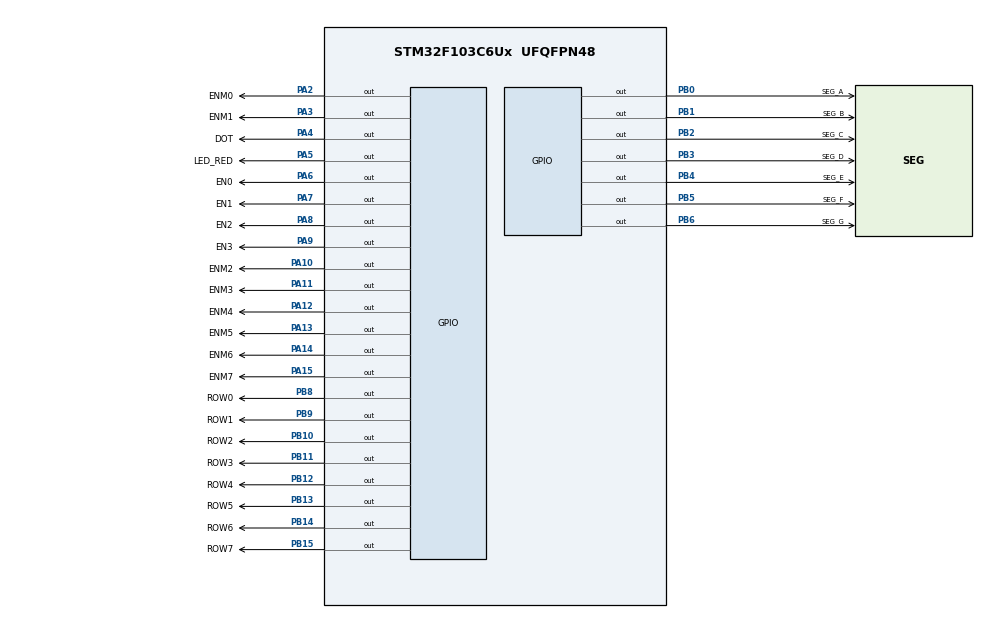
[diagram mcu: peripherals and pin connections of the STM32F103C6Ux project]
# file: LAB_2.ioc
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Mcu.Family=STM32F1
Mcu.Name=STM32F103C6Ux
Mcu.Package=UFQFPN48
NVIC.PriorityGroup=NVIC_PRIORITYGROUP_4
NVIC.TIM2_IRQn=true\:0\:0\:false\:false\:true\:true\:true\:true
PA10.GPIO_Label=ENM2
PA10.Signal=GPIO_Output
PA11.GPIO_Label=ENM3
PA11.Signal=GPIO_Output
PA12.GPIO_Label=ENM4
PA12.Signal=GPIO_Output
PA13.GPIO_Label=ENM5
PA13.Signal=GPIO_Output
PA14.GPIO_Label=ENM6
PA14.Signal=GPIO_Output
PA15.GPIO_Label=ENM7
PA15.Signal=GPIO_Output
PA2.GPIO_Label=ENM0
PA2.Signal=GPIO_Output
PA3.GPIO_Label=ENM1
PA3.Signal=GPIO_Output
PA4.GPIO_Label=DOT
PA4.PinState=GPIO_PIN_RESET
PA4.Signal=GPIO_Output
PA5.GPIO_Label=LED_RED
PA5.Signal=GPIO_Output
PA6.GPIO_Label=EN0
PA6.Signal=GPIO_Output
PA7.GPIO_Label=EN1
PA7.Signal=GPIO_Output
PA8.GPIO_Label=EN2
PA8.Signal=GPIO_Output
PA9.GPIO_Label=EN3
PA9.Signal=GPIO_Output
PB0.GPIO_Label=SEG_A
PB0.Signal=GPIO_Output
PB1.GPIO_Label=SEG_B
PB1.Signal=GPIO_Output
PB10.GPIO_Label=ROW2
PB10.Signal=GPIO_Output
PB11.GPIO_Label=ROW3
PB11.Signal=GPIO_Output
PB12.GPIO_Label=ROW4
PB12.Signal=GPIO_Output
PB13.GPIO_Label=ROW5
PB13.Signal=GPIO_Output
PB14.GPIO_Label=ROW6
PB14.Signal=GPIO_Output
PB15.GPIO_Label=ROW7
PB15.Signal=GPIO_Output
PB2.GPIO_Label=SEG_C
PB2.Signal=GPIO_Output
PB3.GPIO_Label=SEG_D
PB3.Signal=GPIO_Output
PB4.GPIO_Label=SEG_E
PB4.Signal=GPIO_Output
PB5.GPIO_Label=SEG_F
PB5.Signal=GPIO_Output
PB6.GPIO_Label=SEG_G
PB6.Signal=GPIO_Output
PB8.GPIO_Label=ROW0
PB8.Signal=GPIO_Output
PB9.GPIO_Label=ROW1
PB9.Signal=GPIO_Output
ProjectManager.HeapSize=0x200
ProjectManager.StackSize=0x400
ProjectManager.TargetToolchain=STM32CubeIDE
RCC.APB1Freq_Value=8000000
RCC.APB2Freq_Value=8000000
TIM2.Period=9
TIM2.Prescaler=7999
VP_SYS_VS_ND.Mode=No_Debug
VP_TIM2_VS_ClockSourceINT.Mode=Internal
board=custom

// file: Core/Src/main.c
/* USER CODE BEGIN Header */
/**
  ******************************************************************************
  * @file           : main.c
  * @brief          : Main program body
  ******************************************************************************
  * @attention
  *
  * Copyright (c) 2024 STMicroelectronics.
  * All rights reserved.
  *
  * This software is licensed under terms that can be found in the LICENSE file
  * in the root directory of this software component.
  * If no LICENSE file comes with this software, it is provided AS-IS.
  *
  ******************************************************************************
  */
/* USER CODE END Header */
#include "main.h"

TIM_HandleTypeDef htim2;

void SystemClock_Config(void);
static void MX_GPIO_Init(void);
static void MX_TIM2_Init(void);

void SystemClock_Config(void)
{
  RCC_OscInitTypeDef RCC_OscInitStruct = {0};
  RCC_ClkInitTypeDef RCC_ClkInitStruct = {0};

  /** Initializes the RCC Oscillators according to the specified parameters
  * in the RCC_OscInitTypeDef structure.
  */
  RCC_OscInitStruct.OscillatorType = RCC_OSCILLATORTYPE_HSI;
  RCC_OscInitStruct.HSIState = RCC_HSI_ON;
  RCC_OscInitStruct.HSICalibrationValue = RCC_HSICALIBRATION_DEFAULT;
  RCC_OscInitStruct.PLL.PLLState = RCC_PLL_NONE;
  if (HAL_RCC_OscConfig(&RCC_OscInitStruct) != HAL_OK)
  {
    Error_Handler();
  }

  /** Initializes the CPU, AHB and APB buses clocks
  */
  RCC_ClkInitStruct.ClockType = RCC_CLOCKTYPE_HCLK|RCC_CLOCKTYPE_SYSCLK
                              |RCC_CLOCKTYPE_PCLK1|RCC_CLOCKTYPE_PCLK2;
  RCC_ClkInitStruct.SYSCLKSource = RCC_SYSCLKSOURCE_HSI;
  RCC_ClkInitStruct.AHBCLKDivider = RCC_SYSCLK_DIV1;
  RCC_ClkInitStruct.APB1CLKDivider = RCC_HCLK_DIV1;
  RCC_ClkInitStruct.APB2CLKDivider = RCC_HCLK_DIV1;

  if (HAL_RCC_ClockConfig(&RCC_ClkInitStruct, FLASH_LATENCY_0) != HAL_OK)
  {
    Error_Handler();
  }
}

static void MX_TIM2_Init(void)
{

  TIM_ClockConfigTypeDef sClockSourceConfig = {0};
  TIM_MasterConfigTypeDef sMasterConfig = {0};

  htim2.Instance = TIM2;
  htim2.Init.Prescaler = 7999;
  htim2.Init.CounterMode = TIM_COUNTERMODE_UP;
  htim2.Init.Period = 9;
  htim2.Init.ClockDivision = TIM_CLOCKDIVISION_DIV1;
  htim2.Init.AutoReloadPreload = TIM_AUTORELOAD_PRELOAD_DISABLE;
  if (HAL_TIM_Base_Init(&htim2) != HAL_OK)
  {
    Error_Handler();
  }
  sClockSourceConfig.ClockSource = TIM_CLOCKSOURCE_INTERNAL;
  if (HAL_TIM_ConfigClockSource(&htim2, &sClockSourceConfig) != HAL_OK)
  {
    Error_Handler();
  }
  sMasterConfig.MasterOutputTrigger = TIM_TRGO_RESET;
  sMasterConfig.MasterSlaveMode = TIM_MASTERSLAVEMODE_DISABLE;
  if (HAL_TIMEx_MasterConfigSynchronization(&htim2, &sMasterConfig) != HAL_OK)
  {
    Error_Handler();
  }

}

static void MX_GPIO_Init(void)
{
  GPIO_InitTypeDef GPIO_InitStruct = {0};

  /* GPIO Ports Clock Enable */
  __HAL_RCC_GPIOA_CLK_ENABLE();
  __HAL_RCC_GPIOB_CLK_ENABLE();

  /*Configure GPIO pin Output Level */
  HAL_GPIO_WritePin(GPIOA, ENM0_Pin|ENM1_Pin|DOT_Pin|LED_RED_Pin
                          |EN0_Pin|EN1_Pin|EN2_Pin|EN3_Pin
                          |ENM2_Pin|ENM3_Pin|ENM4_Pin|ENM5_Pin
                          |ENM6_Pin|ENM7_Pin, GPIO_PIN_RESET);

  /*Configure GPIO pin Output Level */
  HAL_GPIO_WritePin(GPIOB, SEG_A_Pin|SEG_B_Pin|SEG_C_Pin|ROW2_Pin
                          |ROW3_Pin|ROW4_Pin|ROW5_Pin|ROW6_Pin
                          |ROW7_Pin|SEG_D_Pin|SEG_E_Pin|SEG_F_Pin
                          |SEG_G_Pin|ROW0_Pin|ROW1_Pin, GPIO_PIN_RESET);

  /*Configure GPIO pins : ENM0_Pin ENM1_Pin DOT_Pin LED_RED_Pin
                           EN0_Pin EN1_Pin EN2_Pin EN3_Pin
                           ENM2_Pin ENM3_Pin ENM4_Pin ENM5_Pin
                           ENM6_Pin ENM7_Pin */
  GPIO_InitStruct.Pin = ENM0_Pin|ENM1_Pin|DOT_Pin|LED_RED_Pin
                          |EN0_Pin|EN1_Pin|EN2_Pin|EN3_Pin
                          |ENM2_Pin|ENM3_Pin|ENM4_Pin|ENM5_Pin
                          |ENM6_Pin|ENM7_Pin;
  GPIO_InitStruct.Mode = GPIO_MODE_OUTPUT_PP;
  GPIO_InitStruct.Pull = GPIO_NOPULL;
  GPIO_InitStruct.Speed = GPIO_SPEED_FREQ_LOW;
  HAL_GPIO_Init(GPIOA, &GPIO_InitStruct);

  /*Configure GPIO pins : SEG_A_Pin SEG_B_Pin SEG_C_Pin ROW2_Pin
                           ROW3_Pin ROW4_Pin ROW5_Pin ROW6_Pin
                           ROW7_Pin SEG_D_Pin SEG_E_Pin SEG_F_Pin
                           SEG_G_Pin ROW0_Pin ROW1_Pin */
  GPIO_InitStruct.Pin = SEG_A_Pin|SEG_B_Pin|SEG_C_Pin|ROW2_Pin
                          |ROW3_Pin|ROW4_Pin|ROW5_Pin|ROW6_Pin
                          |ROW7_Pin|SEG_D_Pin|SEG_E_Pin|SEG_F_Pin
                          |SEG_G_Pin|ROW0_Pin|ROW1_Pin;
  GPIO_InitStruct.Mode = GPIO_MODE_OUTPUT_PP;
  GPIO_InitStruct.Pull = GPIO_NOPULL;
  GPIO_InitStruct.Speed = GPIO_SPEED_FREQ_LOW;
  HAL_GPIO_Init(GPIOB, &GPIO_InitStruct);

}

/* USER CODE BEGIN 4 */
void display_7SEG (int num)
{
	  //Turn off all of the segment first
	  HAL_GPIO_WritePin(SEG_A_GPIO_Port, SEG_A_Pin, SET);
	  HAL_GPIO_WritePin(SEG_B_GPIO_Port, SEG_B_Pin, SET);
	  HAL_GPIO_WritePin(SEG_C_GPIO_Port, SEG_C_Pin, SET);
	  HAL_GPIO_WritePin(SEG_D_GPIO_Port, SEG_D_Pin, SET);
	  HAL_GPIO_WritePin(SEG_E_GPIO_Port, SEG_E_Pin, SET);
	  HAL_GPIO_WritePin(SEG_F_GPIO_Port, SEG_F_Pin, SET);
	  HAL_GPIO_WritePin(SEG_G_GPIO_Port, SEG_G_Pin, SET);

	  switch(num)
	  {
	  	  case 0:
	  		  HAL_GPIO_WritePin(SEG_A_GPIO_Port, SEG_A_Pin, RESET);
	  		  HAL_GPIO_WritePin(SEG_B_GPIO_Port, SEG_B_Pin, RESET);
	  		  HAL_GPIO_WritePin(SEG_C_GPIO_Port, SEG_C_Pin, RESET);
	  		  HAL_GPIO_WritePin(SEG_D_GPIO_Port, SEG_D_Pin, RESET);
	  		  HAL_GPIO_WritePin(SEG_E_GPIO_Port, SEG_E_Pin, RESET);
	  		  HAL_GPIO_WritePin(SEG_F_GPIO_Port, SEG_F_Pin, RESET);
	  		  HAL_GPIO_WritePin(SEG_G_GPIO_Port, SEG_G_Pin, SET);
	  		  break;

	  	  case 1:
	  		  HAL_GPIO_WritePin(SEG_A_GPIO_Port, SEG_A_Pin, SET);
	  		  HAL_GPIO_WritePin(SEG_B_GPIO_Port, SEG_B_Pin, RESET);
	  		  HAL_GPIO_WritePin(SEG_C_GPIO_Port, SEG_C_Pin, RESET);
	  		  HAL_GPIO_WritePin(SEG_D_GPIO_Port, SEG_D_Pin, SET);
	  		  HAL_GPIO_WritePin(SEG_E_GPIO_Port, SEG_E_Pin, SET);
	  		  HAL_GPIO_WritePin(SEG_F_GPIO_Port, SEG_F_Pin, SET);
	  		  HAL_GPIO_WritePin(SEG_G_GPIO_Port, SEG_G_Pin, SET);
	  		  break;

	  	  case 2:
	  		  HAL_GPIO_WritePin(SEG_A_GPIO_Port, SEG_A_Pin, RESET);
	  		  HAL_GPIO_WritePin(SEG_B_GPIO_Port, SEG_B_Pin, RESET);
	  		  HAL_GPIO_WritePin(SEG_C_GPIO_Port, SEG_C_Pin, SET);
	  		  HAL_GPIO_WritePin(SEG_D_GPIO_Port, SEG_D_Pin, RESET);
	  		  HAL_GPIO_WritePin(SEG_E_GPIO_Port, SEG_E_Pin, RESET);
	  		  HAL_GPIO_WritePin(SEG_F_GPIO_Port, SEG_F_Pin, SET);
	  		  HAL_GPIO_WritePin(SEG_G_GPIO_Port, SEG_G_Pin, RESET);
	  		  break;

	  	  case 3:
	  		  HAL_GPIO_WritePin(SEG_A_GPIO_Port, SEG_A_Pin, RESET);
	  		  HAL_GPIO_WritePin(SEG_B_GPIO_Port, SEG_B_Pin, RESET);
	  		  HAL_GPIO_WritePin(SEG_C_GPIO_Port, SEG_C_Pin, RESET);
	  		  HAL_GPIO_WritePin(SEG_D_GPIO_Port, SEG_D_Pin, RESET);
	  		  HAL_GPIO_WritePin(SEG_E_GPIO_Port, SEG_E_Pin, SET);
	  		  HAL_GPIO_WritePin(SEG_F_GPIO_Port, SEG_F_Pin, SET);
	  		  HAL_GPIO_WritePin(SEG_G_GPIO_Port, SEG_G_Pin, RESET);
	  		  break;

	  	  case 4:
	  		  HAL_GPIO_WritePin(SEG_A_GPIO_Port, SEG_A_Pin, SET);
	  		  HAL_GPIO_WritePin(SEG_B_GPIO_Port, SEG_B_Pin, RESET);
	  		  HAL_GPIO_WritePin(SEG_C_GPIO_Port, SEG_C_Pin, RESET);
	  		  HAL_GPIO_WritePin(SEG_D_GPIO_Port, SEG_D_Pin, SET);
	  		  HAL_GPIO_WritePin(SEG_E_GPIO_Port, SEG_E_Pin, SET);
	  		  HAL_GPIO_WritePin(SEG_F_GPIO_Port, SEG_F_Pin, RESET);
	  		  HAL_GPIO_WritePin(SEG_G_GPIO_Port, SEG_G_Pin, RESET);
	  		  break;

	  	  case 5:
	  		  HAL_GPIO_WritePin(SEG_A_GPIO_Port, SEG_A_Pin, RESET);
	  		  HAL_GPIO_WritePin(SEG_B_GPIO_Port, SEG_B_Pin, SET);
	  		  HAL_GPIO_WritePin(SEG_C_GPIO_Port, SEG_C_Pin, RESET);
	  		  HAL_GPIO_WritePin(SEG_D_GPIO_Port, SEG_D_Pin, RESET);
	  		  HAL_GPIO_WritePin(SEG_E_GPIO_Port, SEG_E_Pin, SET);
	  		  HAL_GPIO_WritePin(SEG_F_GPIO_Port, SEG_F_Pin, RESET);
	  		  HAL_GPIO_WritePin(SEG_G_GPIO_Port, SEG_G_Pin, RESET);
	  		  break;

	  	  case 6:
	  		  HAL_GPIO_WritePin(SEG_A_GPIO_Port, SEG_A_Pin, RESET);
	  		  HAL_GPIO_WritePin(SEG_B_GPIO_Port, SEG_B_Pin, SET);
	  		  HAL_GPIO_WritePin(SEG_C_GPIO_Port, SEG_C_Pin, RESET);
	  		  HAL_GPIO_WritePin(SEG_D_GPIO_Port, SEG_D_Pin, RESET);
	  		  HAL_GPIO_WritePin(SEG_E_GPIO_Port, SEG_E_Pin, RESET);
	  		  HAL_GPIO_WritePin(SEG_F_GPIO_Port, SEG_F_Pin, RESET);
	  		  HAL_GPIO_WritePin(SEG_G_GPIO_Port, SEG_G_Pin, RESET);
	  		  break;

	  	  case 7:
	  		  HAL_GPIO_WritePin(SEG_A_GPIO_Port, SEG_A_Pin, RESET);
	  		  HAL_GPIO_WritePin(SEG_B_GPIO_Port, SEG_B_Pin, RESET);
	  		  HAL_GPIO_WritePin(SEG_C_GPIO_Port, SEG_C_Pin, RESET);
	  		  HAL_GPIO_WritePin(SEG_D_GPIO_Port, SEG_D_Pin, SET);
	  		  HAL_GPIO_WritePin(SEG_E_GPIO_Port, SEG_E_Pin, SET);
	  		  HAL_GPIO_WritePin(SEG_F_GPIO_Port, SEG_F_Pin, SET);
	  		  HAL_GPIO_WritePin(SEG_G_GPIO_Port, SEG_G_Pin, SET);
	  		  break;

	  	  case 8:
	  		  HAL_GPIO_WritePin(SEG_A_GPIO_Port, SEG_A_Pin, RESET);
	  		  HAL_GPIO_WritePin(SEG_B_GPIO_Port, SEG_B_Pin, RESET);
	  		  HAL_GPIO_WritePin(SEG_C_GPIO_Port, SEG_C_Pin, RESET);
	  		  HAL_GPIO_WritePin(SEG_D_GPIO_Port, SEG_D_Pin, RESET);
	  		  HAL_GPIO_WritePin(SEG_E_GPIO_Port, SEG_E_Pin, RESET);
	  		  HAL_GPIO_WritePin(SEG_F_GPIO_Port, SEG_F_Pin, RESET);
	  		  HAL_GPIO_WritePin(SEG_G_GPIO_Port, SEG_G_Pin, RESET);
	  		  break;

	  	  case 9:
	  		  HAL_GPIO_WritePin(SEG_A_GPIO_Port, SEG_A_Pin, RESET);
	  		  HAL_GPIO_WritePin(SEG_B_GPIO_Port, SEG_B_Pin, RESET);
	  		  HAL_GPIO_WritePin(SEG_C_GPIO_Port, SEG_C_Pin, RESET);
	  		  HAL_GPIO_WritePin(SEG_D_GPIO_Port, SEG_D_Pin, RESET);
	  		  HAL_GPIO_WritePin(SEG_E_GPIO_Port, SEG_E_Pin, SET);
	  		  HAL_GPIO_WritePin(SEG_F_GPIO_Port, SEG_F_Pin, RESET);
	  		  HAL_GPIO_WritePin(SEG_G_GPIO_Port, SEG_G_Pin, RESET);
	  		  break;

	  	  default:
	  		  break;
	  }

}
const int MAX_LED = 4;        // Maximum number of 7-segment displays
int index_led = 0;            // Index to track which 7-segment is being updated
int led_buffer[4] = {1, 2, 3, 4};  // Array holding the digits to be displayed on the 4 displays
int DOT_counter = 100;
int led_update_counter = 0;

void update7SEG(int index)
{
	switch (index)
	{
		case 0:
			//Display led 1
			display_7SEG(led_buffer[0]);

            HAL_GPIO_WritePin(EN0_GPIO_Port, EN0_Pin, GPIO_PIN_RESET);
            HAL_GPIO_WritePin(EN1_GPIO_Port, EN1_Pin, GPIO_PIN_SET);
            HAL_GPIO_WritePin(EN2_GPIO_Port, EN2_Pin, GPIO_PIN_SET);
            HAL_GPIO_WritePin(EN3_GPIO_Port, EN3_Pin, GPIO_PIN_SET);

            break;

		case 1:
			//Display led 2
			display_7SEG(led_buffer[1]);

            HAL_GPIO_WritePin(EN0_GPIO_Port, EN0_Pin, GPIO_PIN_SET);
            HAL_GPIO_WritePin(EN1_GPIO_Port, EN1_Pin, GPIO_PIN_RESET);
            HAL_GPIO_WritePin(EN2_GPIO_Port, EN2_Pin, GPIO_PIN_SET);
            HAL_GPIO_WritePin(EN3_GPIO_Port, EN3_Pin, GPIO_PIN_SET);

            break;

		case 2:
			 //Display led 3
			 display_7SEG(led_buffer[2]);

            HAL_GPIO_WritePin(EN0_GPIO_Port, EN0_Pin, GPIO_PIN_SET);
            HAL_GPIO_WritePin(EN1_GPIO_Port, EN1_Pin, GPIO_PIN_SET);
            HAL_GPIO_WritePin(EN2_GPIO_Port, EN2_Pin, GPIO_PIN_RESET);
            HAL_GPIO_WritePin(EN3_GPIO_Port, EN3_Pin, GPIO_PIN_SET);

            break;

		case 3:
			//Display led 4
			display_7SEG(led_buffer[3]);

            HAL_GPIO_WritePin(EN0_GPIO_Port, EN0_Pin, GPIO_PIN_SET);
            HAL_GPIO_WritePin(EN1_GPIO_Port, EN1_Pin, GPIO_PIN_SET);
            HAL_GPIO_WritePin(EN2_GPIO_Port, EN2_Pin, GPIO_PIN_SET);
            HAL_GPIO_WritePin(EN3_GPIO_Port, EN3_Pin, GPIO_PIN_RESET);

            break;

		default:
			break;

	}
}

void updateClockBuffer(int minute, int hour)
{
	if(hour >= 10)
	{
		led_buffer[0] = hour/10;
		led_buffer[1] = hour%10;
	}
	else
	{
		led_buffer[0] = 0;
		led_buffer[1] = hour;
	}
	if (minute >= 10)
	{
		led_buffer[2] = minute/10;
		led_buffer[3] = minute%10;
	}
	else
	{
		led_buffer[2] = 0;
		led_buffer[3] = minute;
	}
}

/* USER CODE BEGIN 0 */

//Timer 0
int timer0_counter = 0;
int timer0_flag = 0;
int TIMER_CYCLE = 10;

void setTimer0(int duration) {
    timer0_counter = duration / TIMER_CYCLE;
    timer0_flag = 0;
}

//Timer 1
int timer1_counter = 0;
int timer1_flag = 0;

void setTimer1(int duration)
{
	timer1_counter = duration / TIMER_CYCLE;
	timer1_flag = 0;
}

//Timer 2
int timer2_counter = 0;
int timer2_flag = 0;
void setTimer2(int duration)
{
	timer2_counter = duration / TIMER_CYCLE;
	timer2_flag = 0;
}

int timer3_counter = 0;
int timer3_flag = 0;
void setTimer3(int duration)
{
	timer3_counter = duration / TIMER_CYCLE;
	timer3_flag = 0;
}

void timer_run()
{
    if (timer0_counter > 0) {
        timer0_counter--;  // Decrement the counter
        if (timer0_counter == 0) {
            timer0_flag = 1;  // Set the flag when the counter reaches 0
        }
    }

    if (timer1_counter > 0) {
           timer1_counter--;  // Decrement the counter
           if (timer1_counter == 0) {
               timer1_flag = 1;  // Set the flag when the counter reaches 0
           }
       }

    if (timer2_counter > 0) {
            timer2_counter--;  // Decrement the counter
            if (timer2_counter == 0) {
                timer2_flag = 1;  // Set the flag when the counter reaches 0
            }
        }
    if (timer3_counter > 0) {
               timer3_counter--;  // Decrement the counter
               if (timer3_counter == 0) {
                   timer3_flag = 1;  // Set the flag when the counter reaches 0
               }
           }
}
/* USER CODE END 0 */

const int MAX_LED_MATRIX = 8;
int index_led_matrix = 0;
//Mảng chứa dữ liệu hiển thị chữ "A"
uint8_t matrix_buffer[8] = {
    0x3C,  // 00111100
    0x42,  // 01000010
    0x81,  // 10000001
    0x81,  // 10000001
    0xFF,  // 01000010
	0x81,  // 01000010
	0x81,  // 01000010
	0x81,  // 01000010
};
//uint8_t matrix_buffer[8] = {
//    0x3C,  // 00111100
//	0x3C,  // 01000010
//	0x3C,  // 10000001
//	0x3C,  // 10000001
//	0x3C,  // 01000010
//	0xFF,  // 01000010
//	0x3C,  // 01000010
//	0x18,  // 01000010
//};
void updateLEDMatrix(int index) {
    // Turn off all ENM pins before updating the current column
    HAL_GPIO_WritePin(ENM0_GPIO_Port, ENM0_Pin, GPIO_PIN_SET);
    HAL_GPIO_WritePin(ENM1_GPIO_Port, ENM1_Pin, GPIO_PIN_SET);
    HAL_GPIO_WritePin(ENM2_GPIO_Port, ENM2_Pin, GPIO_PIN_SET);
    HAL_GPIO_WritePin(ENM3_GPIO_Port, ENM3_Pin, GPIO_PIN_SET);
    HAL_GPIO_WritePin(ENM4_GPIO_Port, ENM4_Pin, GPIO_PIN_SET);
    HAL_GPIO_WritePin(ENM5_GPIO_Port, ENM5_Pin, GPIO_PIN_SET);
    HAL_GPIO_WritePin(ENM6_GPIO_Port, ENM6_Pin, GPIO_PIN_SET);
    HAL_GPIO_WritePin(ENM7_GPIO_Port, ENM7_Pin, GPIO_PIN_SET);

    // Activate the current column by setting the corresponding ENM pin to LOW
    switch (index) {
    case 0:
        HAL_GPIO_WritePin(ENM0_GPIO_Port, ENM0_Pin, GPIO_PIN_RESET);
        break;
    case 1:
        HAL_GPIO_WritePin(ENM1_GPIO_Port, ENM1_Pin, GPIO_PIN_RESET);
        break;
    case 2:
        HAL_GPIO_WritePin(ENM2_GPIO_Port, ENM2_Pin, GPIO_PIN_RESET);
        break;
    case 3:
        HAL_GPIO_WritePin(ENM3_GPIO_Port, ENM3_Pin, GPIO_PIN_RESET);
        break;
    case 4:
        HAL_GPIO_WritePin(ENM4_GPIO_Port, ENM4_Pin, GPIO_PIN_RESET);
        break;
    case 5:
        HAL_GPIO_WritePin(ENM5_GPIO_Port, ENM5_Pin, GPIO_PIN_RESET);
        break;
    case 6:
        HAL_GPIO_WritePin(ENM6_GPIO_Port, ENM6_Pin, GPIO_PIN_RESET);
        break;
    case 7:
        HAL_GPIO_WritePin(ENM7_GPIO_Port, ENM7_Pin, GPIO_PIN_RESET);
        break;
    default:
        break;
    }

    HAL_GPIO_WritePin(ROW0_GPIO_Port, ROW0_Pin, (matrix_buffer[index] & 0x01) ? GPIO_PIN_RESET : GPIO_PIN_SET);
    HAL_GPIO_WritePin(ROW1_GPIO_Port, ROW1_Pin, (matrix_buffer[index] & 0x02) ? GPIO_PIN_RESET : GPIO_PIN_SET);
    HAL_GPIO_WritePin(ROW2_GPIO_Port, ROW2_Pin, (matrix_buffer[index] & 0x04) ? GPIO_PIN_RESET : GPIO_PIN_SET);
    HAL_GPIO_WritePin(ROW3_GPIO_Port, ROW3_Pin, (matrix_buffer[index] & 0x08) ? GPIO_PIN_RESET : GPIO_PIN_SET);
    HAL_GPIO_WritePin(ROW4_GPIO_Port, ROW4_Pin, (matrix_buffer[index] & 0x10) ? GPIO_PIN_RESET : GPIO_PIN_SET);
    HAL_GPIO_WritePin(ROW5_GPIO_Port, ROW5_Pin, (matrix_buffer[index] & 0x20) ? GPIO_PIN_RESET : GPIO_PIN_SET);
    HAL_GPIO_WritePin(ROW6_GPIO_Port, ROW6_Pin, (matrix_buffer[index] & 0x40) ? GPIO_PIN_RESET : GPIO_PIN_SET);
    HAL_GPIO_WritePin(ROW7_GPIO_Port, ROW7_Pin, (matrix_buffer[index] & 0x80) ? GPIO_PIN_RESET : GPIO_PIN_SET);
}

void shiftLeft(uint8_t matrix_buffer[8])
{
	for (int i = 0; i < 8; i++) {
		// Lấy bit ngoài cùng bên trái (bit thứ 7)
		uint8_t leftBit = (matrix_buffer[i] & 0x80) >> 7;

		// Dịch trái toàn bộ hàng và nối bit ngoài cùng bên trái vào bên phải
		matrix_buffer[i] = (matrix_buffer[i] << 1) | leftBit;
	}
}

//EX4
	void ex4()
	{
	    // Update counters
	    led_update_counter++;
	    DOT_counter--;

	    // Update 7-segment display every 250ms (25 * 10ms)
	    if (led_update_counter >= 25)
	    {
	        // Update 7-segment display with current index
	        update7SEG(index_led);

	        // Increment index and wrap around after MAX_LED
	        index_led++;
	        if (index_led >= MAX_LED) {
	            index_led = 0;
	        }

	        // Reset the 7-segment update counter
	        led_update_counter = 0;
	    }

	    // Toggle DOT LED every 1 second (100 * 10ms)
	    if (DOT_counter <= 0)
	    {
	        HAL_GPIO_TogglePin(DOT_GPIO_Port, DOT_Pin);  // Toggle the DOT pin
	        DOT_counter = 100;  // Reset the counter for next toggle
	    }
	}

int counter = 50;
int led_state = 0;
void HAL_TIM_PeriodElapsedCallback(TIM_HandleTypeDef *htim)
{
	//ex4();
	timer_run();
//
//	counter--;
//	    if(counter <= 0) {
//	        if (led_state == 0)
//	                {
//	                    // Enable the first display (EN0), disable the second one (EN1)
//	                    HAL_GPIO_WritePin(EN0_GPIO_Port, EN0_Pin, GPIO_PIN_RESET);  // EN0 on
//	                    HAL_GPIO_WritePin(EN1_GPIO_Port, EN1_Pin, GPIO_PIN_SET); // EN1 off
//
//	                    // Display the number '1' on the first seven-segment
//	                    display_7SEG(1);
//
//	                    led_state = 1;  // Switch state for next interrupt
//	                }
//	                else if (led_state == 1)
//	                {
//	                    // Enable the second display (EN1), disable the first one (EN0)
//	                    HAL_GPIO_WritePin(EN0_GPIO_Port, EN0_Pin, GPIO_PIN_SET); // EN0 off
//	                    HAL_GPIO_WritePin(EN1_GPIO_Port, EN1_Pin, GPIO_PIN_RESET);   // EN1 on
//
//	                    // Display the number '2' on the second seven-segment
//	                    display_7SEG(2);
//
//	                    led_state = 0;  // Switch back for next interrupt
//	                }
//	        counter = 50;
//	    }

}

int main(void)
{
  /* USER CODE BEGIN 1 */

  /* USER CODE END 1 */

  /* MCU Configuration--------------------------------------------------------*/

  /* Reset of all peripherals, Initializes the Flash interface and the Systick. */
  HAL_Init();

  /* USER CODE BEGIN Init */

  /* USER CODE END Init */

  /* Configure the system clock */
  SystemClock_Config();

  /* USER CODE BEGIN SysInit */

  /* USER CODE END SysInit */

  /* Initialize all configured peripherals */
  MX_GPIO_Init();
  MX_TIM2_Init();
  /* USER CODE BEGIN 2 */
  HAL_TIM_Base_Start_IT (& htim2 ) ;
  /* USER CODE END 2 */

  /* Infinite loop */
  /* USER CODE BEGIN WHILE */
  int hour = 15, minute = 8, second = 50;
  setTimer0(1000);  // Set the timer for Dot (1 second)
  setTimer1(3000); 	// Set the timer for Segment leds
  setTimer2(1000);  //Set the timer for updateClockBuffer
  setTimer3(50);	//EX10
  int index = 0;
while (1)
{
      if (timer0_flag == 1)
      {
    	  second++;
    	  HAL_GPIO_TogglePin(DOT_GPIO_Port, DOT_Pin);
          setTimer0(1000);  // Set the timer for 1000 ms (1 seconds)
      }

      if (timer1_flag == 1)
      {
    	  switch (index)
    	  	{
    	  		case 0:
    	  			//Display led 1
    	  			display_7SEG(led_buffer[0]);

    	              HAL_GPIO_WritePin(EN0_GPIO_Port, EN0_Pin, GPIO_PIN_RESET);
    	              HAL_GPIO_WritePin(EN1_GPIO_Port, EN1_Pin, GPIO_PIN_SET);
    	              HAL_GPIO_WritePin(EN2_GPIO_Port, EN2_Pin, GPIO_PIN_SET);
    	              HAL_GPIO_WritePin(EN3_GPIO_Port, EN3_Pin, GPIO_PIN_SET);
    	              break;

    	  		case 1:
    	  			//Display led 2
    	  			display_7SEG(led_buffer[1]);

    	              HAL_GPIO_WritePin(EN0_GPIO_Port, EN0_Pin, GPIO_PIN_SET);
    	              HAL_GPIO_WritePin(EN1_GPIO_Port, EN1_Pin, GPIO_PIN_RESET);
    	              HAL_GPIO_WritePin(EN2_GPIO_Port, EN2_Pin, GPIO_PIN_SET);
    	              HAL_GPIO_WritePin(EN3_GPIO_Port, EN3_Pin, GPIO_PIN_SET);
    	              break;

    	  		case 2:
    	  			 //Display led 3
    	  			 display_7SEG(led_buffer[2]);

    	              HAL_GPIO_WritePin(EN0_GPIO_Port, EN0_Pin, GPIO_PIN_SET);
    	              HAL_GPIO_WritePin(EN1_GPIO_Port, EN1_Pin, GPIO_PIN_SET);
    	              HAL_GPIO_WritePin(EN2_GPIO_Port, EN2_Pin, GPIO_PIN_RESET);
    	              HAL_GPIO_WritePin(EN3_GPIO_Port, EN3_Pin, GPIO_PIN_SET);
    	              break;

    	  		case 3:
    	  			//Display led 4
    	  			display_7SEG(led_buffer[3]);

    	              HAL_GPIO_WritePin(EN0_GPIO_Port, EN0_Pin, GPIO_PIN_SET);
    	              HAL_GPIO_WritePin(EN1_GPIO_Port, EN1_Pin, GPIO_PIN_SET);
    	              HAL_GPIO_WritePin(EN2_GPIO_Port, EN2_Pin, GPIO_PIN_SET);
    	              HAL_GPIO_WritePin(EN3_GPIO_Port, EN3_Pin, GPIO_PIN_RESET);
    	              break;

    	  		default:
    	  			break;
    	  		}
    	  	index++;
    	  	if(index >= 4)
    	  	{
    	  		index = 0;
    	  	}
    	  	setTimer1(3000);
      }

      if(timer2_flag == 1)
      {
    	  if(second >= 60)
    	  {
    	      minute++;
    	      second = 0;
    	  }
    	  if(minute >= 60)
    	  {
    		  hour++;
    		  minute = 0;
    	  }
          if (hour >= 24)
          {
        	  hour = 0;
          }
          updateClockBuffer(minute, hour);
          setTimer2(1000);
      }

	  if (timer3_flag == 1)
	 	      {
	 	    	  updateLEDMatrix(index_led_matrix);
	 	    	  index_led_matrix++;
	 			  if (index_led_matrix >= 8)
	 			  {
	 				  shiftLeft(matrix_buffer);
	 				  index_led_matrix = 0;
	 			  }
	 	          setTimer3(50);
	 	      }
}
//  	  //EX4
//	  while (1)
//	  {
//
//	  }
}

/**
  * @brief System Clock Configuration
  * @retval None
  */

/**
  * @brief TIM2 Initialization Function
  * @param None
  * @retval None
  */

/**
  * @brief GPIO Initialization Function
  * @param None
  * @retval None
  */

/* USER CODE END 4 */

void Error_Handler(void)
{
  __disable_irq();
  while (1)
  {
  }
}
